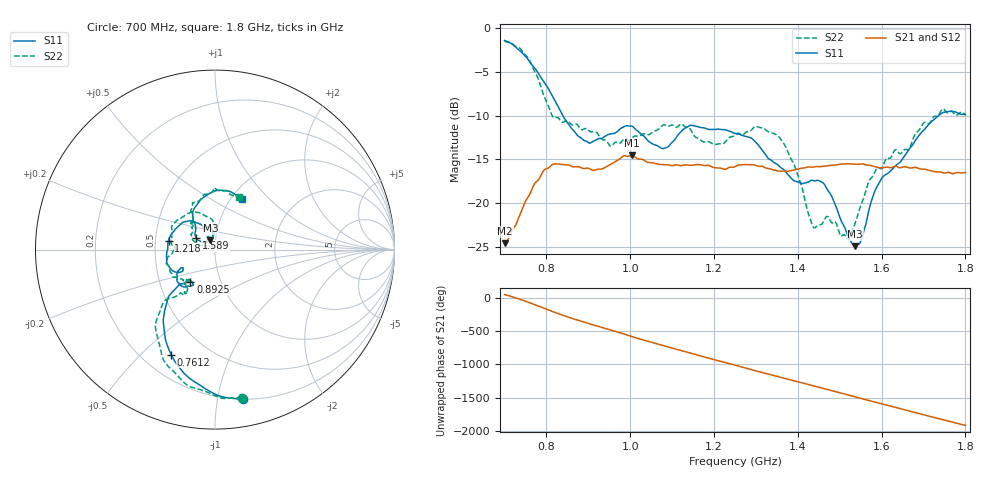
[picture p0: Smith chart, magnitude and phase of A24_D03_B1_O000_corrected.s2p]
! Created with skrf 1.9.0 (http://scikit-rf.org).
# Hz S RI R 50.0
!freq ReS11 ImS11 ReS21 ImS21 ReS12 ImS12 ReS22 ImS22
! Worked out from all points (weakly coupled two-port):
!   1601 points, 700 MHz to 1.8 GHz, reference 50 ohm
!   highest |S21| = -14.55 dB at 1.005 GHz (marker M1); lowest = -24.6 dB at 701.4 MHz (marker M2)
!   lowest |S11| = -24.9 dB at 1.537 GHz (marker M3), VSWR 1.12, Z = 47.3 + j4.82 ohm
!   |S11| at or under -10 dB: 839 MHz to 1.736 GHz (896.9 MHz wide, 69.7 % of centre)
!   |S22| runs from -24.1 to -1.5 dB; largest |S21 - S12| = 0.0035
!   S11 on the Smith chart (normalised r, x): 700 MHz: 0.20, -1.19; 761.2 MHz: 0.32, -0.62; 892.5 MHz: 0.72, -0.27; 1.218 GHz: 0.59, +0.06; 1.589 GHz: 0.80, +0.11; 1.8 GHz: 1.13, +0.71
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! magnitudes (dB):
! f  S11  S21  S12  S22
! 700 MHz  -1.4  -24.6  -24.3  -1.5
! 701.4 MHz  -1.5  -24.6  -24.2  -1.5
! 761.2 MHz  -4.0  -18.9  -18.8  -3.9
! 814.8 MHz  -7.9  -15.6  -15.7  -10.1
! 883.6 MHz  -12.6  -16.0  -15.9  -11.6
! 892.5 MHz  -12.9  -16.0  -16.1  -11.5
! 953 MHz  -12.1  -15.6  -15.6  -13.5
! 1.005 GHz  -11.2  -14.5  -14.7  -12.5
! 1.067 GHz  -13.5  -15.6  -15.5  -11.6
! 1.143 GHz  -11.1  -15.7  -15.7  -11.5
! 1.218 GHz  -11.6  -16.0  -16.1  -13.2
! 1.25 GHz  -12.0  -15.8  -15.8  -12.2
! 1.356 GHz  -15.8  -16.3  -16.3  -12.5
! 1.394 GHz  -17.5  -16.2  -16.2  -16.0
! 1.434 GHz  -17.4  -15.9  -15.9  -22.4
! 1.465 GHz  -18.0  -15.8  -15.8  -21.8
! 1.52 GHz  -23.9  -15.5  -15.5  -24.1
! 1.537 GHz  -24.9  -15.5  -15.6  -22.3
! 1.589 GHz  -18.1  -15.9  -15.9  -16.0
! 1.617 GHz  -16.5  -15.9  -15.9  -14.9
! 1.738 GHz  -9.9  -16.4  -16.5  -9.8
! 1.8 GHz  -9.9  -16.5  -16.5  -9.8
